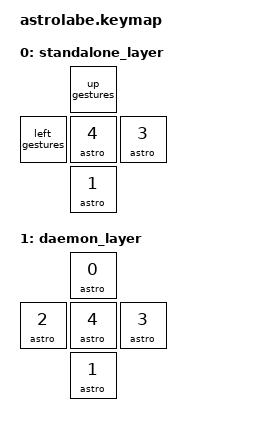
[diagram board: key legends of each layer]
// SPDX-FileCopyrightText: 2026 Dylan Lee
// SPDX-License-Identifier: Apache-2.0

#include <behaviors.dtsi>
#include <dt-bindings/zmk/bt.h>
#include <dt-bindings/zmk/outputs.h>

// Two layers, selected by the route (CONFIG_ASTROLABE_DAEMON_LAYER), never by a binding:
//
//   0 standalone  the device is its own mouse. Up and Left carry no click, so they host gestures.
//   1 daemon      plain control bits with nothing in front of them, so host-side chords are
//                 immediate. A tap-dance must wait out its term to know a tap was single; paying
//                 that on a daemon control would delay every press.
//
//   double-tap Up     toggle USB/BLE output          hold Up 3 s     bootloader
//   double-tap Left   next BLE profile                hold Left 3 s   clear this profile's bond
//
// The status LED reports the three radio gestures (src/indicator.c); the bootloader announces
// itself with its UF2 drive. Bond clear needs a gesture because ZMK pairs only onto an open slot:
// without it, all five slots eventually fill for good.

/ {
    behaviors {
        // The tap-dance below charges its 400 ms before this term starts: 2600 + 400 = 3 s.
        // A hold-tap passes one parameter to each binding, which is why &astro takes one.
        up_recover: up_recover {
            compatible = "zmk,behavior-hold-tap";
            #binding-cells = <2>;
            tapping-term-ms = <2600>;
            flavor = "tap-preferred";
            bindings = <&bootloader>, <&astro>;
        };

        left_recover: left_recover {
            compatible = "zmk,behavior-hold-tap";
            #binding-cells = <2>;
            tapping-term-ms = <2600>;
            flavor = "tap-preferred";
            bindings = <&bt>, <&astro>;
        };

        // The window runs from the first press, so it must cover press-release-press on a stiff
        // five-way; the second tap fires immediately on keydown.
        up_gestures: up_gestures {
            compatible = "zmk,behavior-tap-dance";
            #binding-cells = <0>;
            tapping-term-ms = <400>;
            bindings = <&up_recover 0 0>, <&astro_out>;
        };

        left_gestures: left_gestures {
            compatible = "zmk,behavior-tap-dance";
            #binding-cells = <0>;
            tapping-term-ms = <400>;
            bindings = <&left_recover BT_CLR_CMD 2>, <&bt BT_NXT>;
        };
    };

    keymap {
        compatible = "zmk,keymap";

        // Up, Down, Left, Right, Center. &astro's parameter is the protocol control bit.
        standalone_layer {
            bindings = <&up_gestures &astro 1 &left_gestures &astro 3 &astro 4>;
        };

        daemon_layer {
            bindings = <&astro 0 &astro 1 &astro 2 &astro 3 &astro 4>;
        };
    };
};
